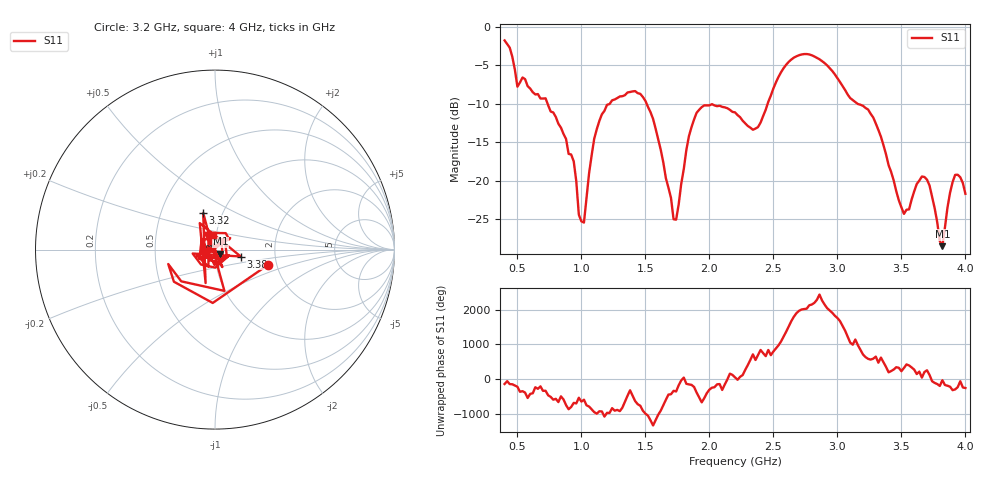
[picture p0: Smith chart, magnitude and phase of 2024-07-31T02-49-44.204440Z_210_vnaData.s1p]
!Created with skrf (http://scikit-rf.org).
# Hz S RI R 50.0
!freq ReS11 ImS11
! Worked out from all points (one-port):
!   181 points, 400 MHz to 4 GHz, reference 50 ohm
!   lowest |S11| = -28.5 dB at 3.82 GHz (marker M1), VSWR 1.08, Z = 53 - j2.43 ohm
!   |S11| at or under -10 dB: 736.2 MHz to 1.221 GHz (484.5 MHz wide, 49.5 % of centre); 1.51 GHz to 2.455 GHz (944.6 MHz wide, 47.6 % of centre); 3.159 GHz to end of sweep
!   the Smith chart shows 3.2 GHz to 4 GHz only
!   S11 on the Smith chart (normalised r, x): 3.2 GHz: 1.80, -0.34; 3.32 GHz: 0.81, +0.35; 3.38 GHz: 1.33, -0.10; 4 GHz: 0.97, +0.16
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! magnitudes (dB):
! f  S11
! 400 MHz  -1.8
! 500 MHz  -7.8
! 720 MHz  -9.3
! 860 MHz  -13.9
! 940 MHz  -17.5
! 980 MHz  -24.4
! 1.02 GHz  -25.4
! 1.12 GHz  -13.3
! 1.3 GHz  -9.0
! 1.5 GHz  -9.6
! 1.72 GHz  -25.0
! 1.76 GHz  -23.1
! 1.84 GHz  -14.2
! 1.9 GHz  -11.2
! 2.2 GHz  -11.1
! 2.38 GHz  -13.0
! 2.66 GHz  -4.0
! 2.88 GHz  -4.4
! 3.1 GHz  -9.2
! 3.2 GHz  -10.2
! 3.32 GHz  -13.4
! 3.38 GHz  -16.6
! 3.52 GHz  -24.3
! 3.56 GHz  -23.7
! 3.7 GHz  -19.8
! 3.82 GHz  -28.5
! 3.92 GHz  -19.2
! 4 GHz  -21.7
